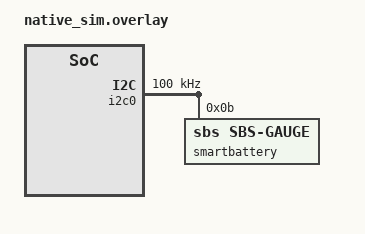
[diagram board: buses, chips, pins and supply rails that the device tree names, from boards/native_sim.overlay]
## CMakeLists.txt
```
# SPDX-License-Identifier: Apache-2.0

cmake_minimum_required(VERSION 3.20.0)
find_package(Zephyr REQUIRED HINTS $ENV{ZEPHYR_BASE})
project(device)

FILE(GLOB app_sources src/test_sbs_gauge.c)
target_sources(app PRIVATE ${app_sources})
```

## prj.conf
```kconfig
CONFIG_ZTEST=y
CONFIG_SENSOR=y
CONFIG_I2C=y
CONFIG_TEST_USERSPACE=y
CONFIG_LOG=y
```

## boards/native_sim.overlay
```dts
/*
 * Copyright (c) 2022 Leica Geosystems AG
 *
 * SPDX-License-Identifier: Apache-2.0
 */

&i2c0 {
	clock-frequency = <I2C_BITRATE_STANDARD>;
	smartbattery: sbs_gauge@b {
		compatible = "sbs,sbs-gauge";
		reg = <0x0B>;
		status = "okay";
	};
};
```

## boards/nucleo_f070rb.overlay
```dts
/*
 * Copyright (c) 2021 Leica Geosystems AG
 *
 * SPDX-License-Identifier: Apache-2.0
 */

&i2c1 {
	clock-frequency = <I2C_BITRATE_STANDARD>;
	timings = <32000000 I2C_BITRATE_STANDARD 0x10E03E52>;
	smartbattery0: smartbattery@b {
		compatible = "sbs,sbs-gauge";
		reg = <0x0B>;
		status = "okay";
	};
};
```

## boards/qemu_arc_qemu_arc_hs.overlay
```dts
/*
 * Copyright (c) 2023 Google LLC
 *
 * SPDX-License-Identifier: Apache-2.0
 */

#include <zephyr/dt-bindings/i2c/i2c.h>

/ {
	/* qemu_cortex_a9 board isn't configured with an I2C node */
	fake_i2c_bus: i2c@100 {
		status = "okay";
		compatible = "zephyr,i2c-emul-controller";
		clock-frequency = <I2C_BITRATE_STANDARD>;
		#address-cells = <1>;
		#size-cells = <0>;
		reg = <0x100 4>;
	};
};

&fake_i2c_bus {
	clock-frequency = <I2C_BITRATE_STANDARD>;
	compatible = "zephyr,i2c-emul-controller";
	smartbattery0: smartbattery@b {
		compatible = "sbs,sbs-gauge";
		reg = <0x0B>;
		status = "okay";
	};
};
```

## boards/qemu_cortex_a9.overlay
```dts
/*
 * Copyright (c) 2022 Google LLC
 *
 * SPDX-License-Identifier: Apache-2.0
 */

#include <zephyr/dt-bindings/i2c/i2c.h>

/ {
	/* qemu_cortex_a9 board isn't configured with an I2C node */
	fake_i2c_bus: i2c@100 {
		status = "okay";
		compatible = "zephyr,i2c-emul-controller";
		clock-frequency = <I2C_BITRATE_STANDARD>;
		#address-cells = <1>;
		#size-cells = <0>;
		reg = <0x100 4>;
	};
};

&fake_i2c_bus {
	clock-frequency = <I2C_BITRATE_STANDARD>;
	compatible = "zephyr,i2c-emul-controller";
	smartbattery0: smartbattery@b {
		compatible = "sbs,sbs-gauge";
		reg = <0x0B>;
		status = "okay";
	};
};
```

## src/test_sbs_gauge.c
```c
/*
 * Copyright (c) 2021 Leica Geosystems AG
 *
 * SPDX-License-Identifier: Apache-2.0
 */

#include <zephyr/drivers/sensor.h>
#include <zephyr/kernel.h>
#include <zephyr/ztest.h>

const struct device *get_fuel_gauge_device(void)
{
	const struct device *const dev = DEVICE_DT_GET_ANY(sbs_sbs_gauge);

	zassert_true(device_is_ready(dev), "Fuel Gauge not found");

	return dev;
}

/* Helper that only checks channel access is supported. */
static void test_get_sensor_value(int16_t channel)
{
	struct sensor_value value;
	const struct device *dev = get_fuel_gauge_device();

	zassert_ok(sensor_sample_fetch_chan(dev, channel), "Sample fetch failed");
	zassert_ok(sensor_channel_get(dev, channel, &value), "Get sensor value failed");
}

/* Helper for verifying a sensor channel fetch is not supported */
static void test_get_sensor_value_not_supp(int16_t channel)
{
	const struct device *dev = get_fuel_gauge_device();

	zassert_true(sensor_sample_fetch_chan(dev, channel) == -ENOTSUP, "Invalid function");
}

ZTEST(sbs_gauge, test_get_gauge_voltage)
{
	test_get_sensor_value(SENSOR_CHAN_GAUGE_VOLTAGE);
}

ZTEST(sbs_gauge, test_get_gauge_avg_current)
{
	test_get_sensor_value(SENSOR_CHAN_GAUGE_AVG_CURRENT);
}

ZTEST(sbs_gauge, test_get_gauge_get_temperature)
{
	test_get_sensor_value(SENSOR_CHAN_GAUGE_TEMP);
}

ZTEST(sbs_gauge, test_get_state_of_charge)
{
	test_get_sensor_value(SENSOR_CHAN_GAUGE_STATE_OF_CHARGE);
}

ZTEST(sbs_gauge, test_get_full_charge_capacity)
{
	test_get_sensor_value(SENSOR_CHAN_GAUGE_FULL_CHARGE_CAPACITY);
}

ZTEST(sbs_gauge, test_get_rem_charge_capacity)
{
	test_get_sensor_value(SENSOR_CHAN_GAUGE_REMAINING_CHARGE_CAPACITY);
}

ZTEST(sbs_gauge, test_get_nom_avail_capacity)
{
	test_get_sensor_value(SENSOR_CHAN_GAUGE_NOM_AVAIL_CAPACITY);
}

ZTEST(sbs_gauge, test_get_full_avail_capacity)
{
	test_get_sensor_value(SENSOR_CHAN_GAUGE_FULL_AVAIL_CAPACITY);
}

ZTEST(sbs_gauge, test_get_average_time_to_empty)
{
	test_get_sensor_value(SENSOR_CHAN_GAUGE_TIME_TO_EMPTY);
}

ZTEST(sbs_gauge, test_get_average_time_to_full)
{
	test_get_sensor_value(SENSOR_CHAN_GAUGE_TIME_TO_FULL);
}

ZTEST(sbs_gauge, test_get_cycle_count)
{
	test_get_sensor_value(SENSOR_CHAN_GAUGE_CYCLE_COUNT);
}

ZTEST(sbs_gauge, test_not_supported_channel)
{
	uint8_t channel;

	for (channel = SENSOR_CHAN_ACCEL_X; channel <= SENSOR_CHAN_RPM; channel++) {
		test_get_sensor_value_not_supp(channel);
	}
	/* SOH is not defined in the SBS 1.1 specifications */
	test_get_sensor_value_not_supp(SENSOR_CHAN_GAUGE_STATE_OF_HEALTH);

	/* These readings are not presently supported by the sbs_gauge driver. */
	test_get_sensor_value_not_supp(SENSOR_CHAN_GAUGE_STDBY_CURRENT);
	test_get_sensor_value_not_supp(SENSOR_CHAN_GAUGE_MAX_LOAD_CURRENT);
	test_get_sensor_value_not_supp(SENSOR_CHAN_GAUGE_DESIRED_VOLTAGE);
	test_get_sensor_value_not_supp(SENSOR_CHAN_GAUGE_DESIRED_CHARGING_CURRENT);
}

ZTEST_SUITE(sbs_gauge, NULL, NULL, NULL, NULL, NULL);
```
